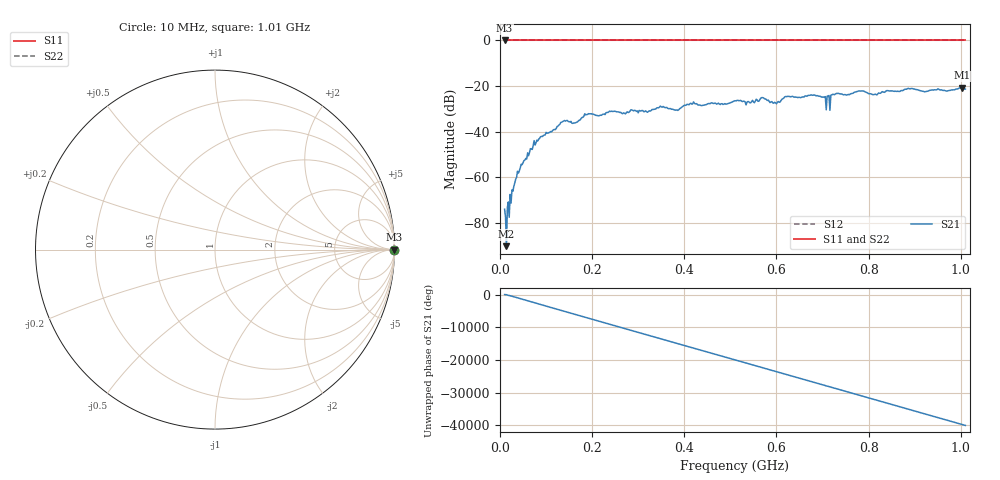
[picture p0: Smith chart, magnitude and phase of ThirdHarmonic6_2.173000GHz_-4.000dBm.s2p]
! 8/17/2025 1:55:23 AM
! C:\ANRITSUVNA\TEMP\TEMP.S2P
! CHANNEL.1
! TR.MEASUREMENT
! RAW.DATA
! RF.CORRECTION.OFF
! AVERAGING.OFF
! IF.BANDWIDTH: 5KHZ
! SWEEPTYPE:  FREQ.SWEEP(Linear)
! Reference Plane Port Info
! PORT:  PORT1  PORT2
! DISTANCE:  0  m  0  m
! TIME:  0  s  0  s
! PHASE.OFFSET:  0  deg.  0  deg.
! LOSS:  0  dB  0  dB
! REF.LOSS:  0  dB  0  dB
! REF.FREQ:  0  Hz  0  Hz
! Power Info
! POWER:  -20  dBm  -20  dBm
! EFF.POWER:  -20  dBm  -20  dBm
! SOURCE.ATTEN:  0  dB  0  dB
! TEST.ATTEN:  0  dB  0  dB
# GHZ S RI R 50.0
! FREQ.GHZ  S11RE  S11IM  S21RE  S21IM  S12RE  S12IM  S22RE  S22IM
!; PortSelection: Port_12
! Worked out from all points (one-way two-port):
!   501 points, 10 MHz to 1.01 GHz, reference 50 ohm
!   highest |S21| = -20.67 dB at 1.002 GHz (marker M1); lowest = -90.1 dB at 14 MHz (marker M2)
!   lowest |S11| = 0.0 dB at 10 MHz (marker M3)
!   |S11| at or under -10 dB: nowhere
!   |S22| runs from 0.0 to 0.0 dB; largest |S21 - S12| = 1.1
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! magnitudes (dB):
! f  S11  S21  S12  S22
! 10 MHz  0.0  -73.9  0.0  0.0
! 14 MHz  0.0  -90.1  0.0  0.0
! 16 MHz  0.0  -73.1  0.0  0.0
! 30 MHz  0.0  -63.9  0.0  0.0
! 42 MHz  0.0  -57.1  0.0  0.0
! 76 MHz  0.0  -45.8  0.0  0.0
! 136 MHz  0.0  -35.5  0.0  0.0
! 160 MHz  0.0  -36.1  0.0  0.0
! 178 MHz  0.0  -33.8  0.0  0.0
! 344 MHz  0.0  -29.5  0.0  0.0
! 384 MHz  0.0  -30.4  0.0  0.0
! 416 MHz  0.0  -27.8  0.0  0.0
! 510 MHz  0.0  -26.4  0.0  0.0
! 570 MHz  0.0  -25.0  0.0  0.0
! 596 MHz  0.0  -27.1  0.0  0.0
! 622 MHz  0.0  -24.6  0.0  0.0
! 678 MHz  0.0  -24.0  0.0  0.0
! 712 MHz  0.0  -24.4  0.0  0.0
! 732 MHz  0.0  -23.2  0.0  0.0
! 844 MHz  0.0  -22.1  0.0  0.0
! 1.002 GHz  0.0  -20.7  0.0  0.0
! 1.01 GHz  0.0  -21.3  0.0  0.0
